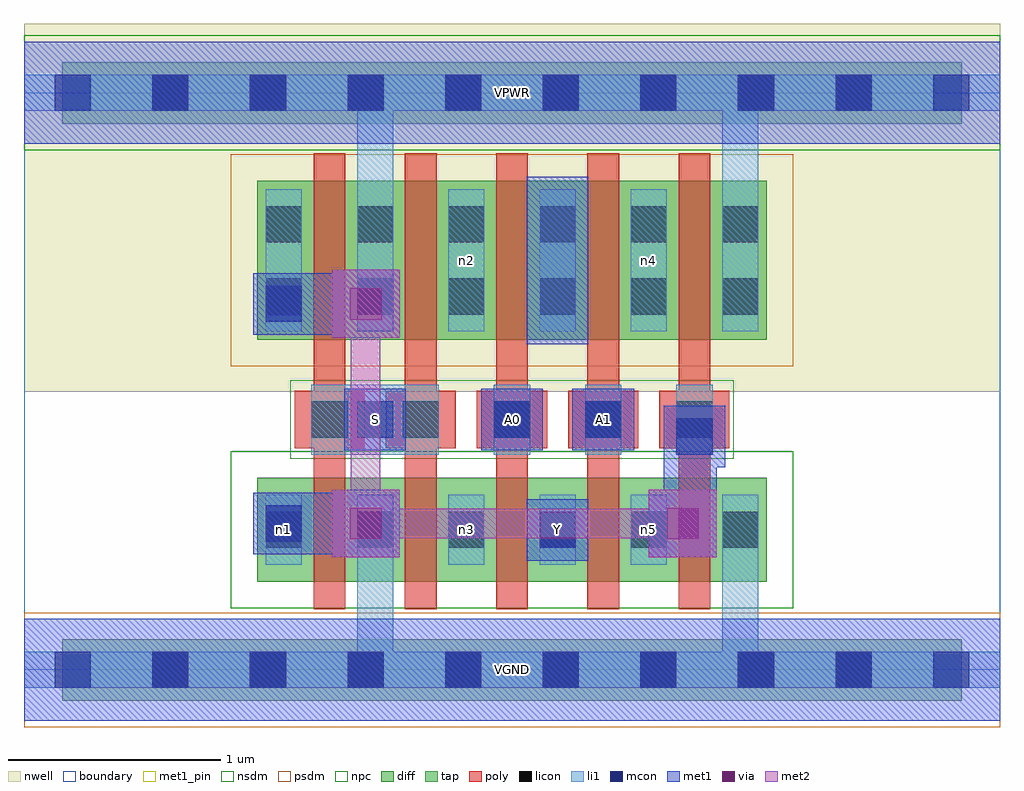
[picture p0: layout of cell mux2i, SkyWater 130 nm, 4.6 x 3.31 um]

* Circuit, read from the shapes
.subckt mux2i A0 A1 S VGND VPWR Y n1 n2 n3 n4 n5
XM1 VGND S n1 VGND sky130_fd_pr__nfet_01v8 w=0.49 l=0.15
XM2 n3 S VGND VGND sky130_fd_pr__nfet_01v8 w=0.49 l=0.15
XM3 Y A0 n3 VGND sky130_fd_pr__nfet_01v8 w=0.49 l=0.15
XM4 n5 A1 Y VGND sky130_fd_pr__nfet_01v8 w=0.49 l=0.15
XM5 VGND n1 n5 VGND sky130_fd_pr__nfet_01v8 w=0.49 l=0.15
XM6 VPWR S n1 VPWR sky130_fd_pr__pfet_01v8 w=0.75 l=0.15
XM7 n2 S VPWR VPWR sky130_fd_pr__pfet_01v8 w=0.75 l=0.15
XM8 n6 A0 n2 VPWR sky130_fd_pr__pfet_01v8 w=0.75 l=0.15
XM9 n4 A1 n6 VPWR sky130_fd_pr__pfet_01v8 w=0.75 l=0.15
XM10 VPWR n1 n4 VPWR sky130_fd_pr__pfet_01v8 w=0.75 l=0.15
.ends

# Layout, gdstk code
import gdstk
lib = gdstk.Library(unit=1e-6, precision=1e-09)
def R(c, l, rs):  # rectangles x0, y0, x1, y1
    for r in rs: c.add(gdstk.rectangle(r[:2], r[2:], *l))
def A(c, l, x, y, w, h, nx, ny, dx, dy):  # array of equal rectangles
    R(c, l, [(x+i*dx, y+j*dy, x+i*dx+w, y+j*dy+h) for i in range(nx) for j in range(ny)])
nwell = (64, 20)
diff = (65, 20)
tap = (65, 44)
poly = (66, 20)
licon = (66, 44)
li1 = (67, 20)
mcon = (67, 44)
met1_pin = (68, 16)
met1 = (68, 20)
via = (68, 44)
met2 = (69, 20)
nsdm = (93, 44)
psdm = (94, 20)
npc = (95, 20)
boundary = (235, 4)

mux2i = lib.new_cell('mux2i')
R(mux2i, nwell, [(0,1.31,4.6,3.045)])
R(mux2i, diff, [(1.1,0.415,3.5,0.905), (1.1,1.555,3.5,2.305)])
R(mux2i, tap, [(0.18,-0.145,4.42,0.145), (0.18,2.575,4.42,2.865)])
A(mux2i, poly, 1.365, 0.285, 0.15, 2.15, 5, 1, 0.43, 0)
A(mux2i, poly, 1.275, 1.045, 0.33, 0.27, 5, 1, 0.43, 0)
A(mux2i, licon, 0.605, -0.085, 0.17, 0.17, 8, 2, 0.46, 2.72)
A(mux2i, licon, 1.14, 0.575, 0.17, 0.17, 6, 2, 0.43, 1.1)
A(mux2i, licon, 1.355, 1.095, 0.17, 0.17, 5, 1, 0.43, 0)
A(mux2i, licon, 1.14, 2.015, 0.17, 0.17, 6, 1, 0.43, 0)
A(mux2i, li1, 1.14, 0.495, 0.17, 0.33, 6, 1, 0.43, 0)
A(mux2i, li1, 2.215, 1.015, 0.17, 0.33, 3, 1, 0.43, 0)
A(mux2i, li1, 1.14, 1.595, 0.17, 0.67, 6, 1, 0.43, 0)
R(mux2i, li1, [(0,-0.085,4.6,0.085), (1.57,-0.085,1.74,0.825), (3.29,-0.085,3.46,0.825), (1.355,1.015,1.955,1.345), (1.57,1.595,1.74,2.805), (3.29,1.595,3.46,2.805), (0,2.635,4.6,2.805)])
A(mux2i, mcon, 0.145, -0.085, 0.17, 0.17, 10, 2, 0.46, 2.72)
R(mux2i, mcon, [(2.43,0.575,2.6,0.745), (1.14,0.605,1.31,0.775), (3.075,1.015,3.245,1.185), (1.57,1.095,1.74,1.265), (2.215,1.095,2.385,1.265), (2.645,1.095,2.815,1.265), (1.14,1.64,1.31,1.81)])
R(mux2i, met1_pin, [(0,-0.24,4.6,0.24), (2.37,0.515,2.66,0.805), (1.51,1.035,1.8,1.325), (2.155,1.035,2.445,1.325), (2.585,1.035,2.875,1.325), (0,2.48,4.6,2.96)])
R(mux2i, met1, [(0,-0.24,4.6,0.24), (2.37,0.515,2.66,0.805), (1.45,0.53,1.77,0.85), (2.945,0.53,3.265,0.85), (1.08,0.545,1.37,0.835), (1.37,0.545,1.45,0.835), (1.155,0.62,1.45,0.76), (1.31,0.62,1.68,0.76), (3.035,0.62,3.175,0.99), (3.015,0.85,3.265,0.955), (3.035,0.85,3.175,1.17), (3.015,0.955,3.305,1.245), (3.035,1.03,3.23,1.17), (1.51,1.035,1.8,1.325), (2.155,1.035,2.445,1.325), (2.585,1.035,2.875,1.325), (2.37,1.535,2.66,2.325), (1.45,1.565,1.77,1.885), (1.08,1.58,1.37,1.87), (1.37,1.58,1.45,1.87), (1.155,1.655,1.45,1.795), (1.31,1.655,1.68,1.795), (0,2.48,4.6,2.96)])
R(mux2i, via, [(1.535,0.615,1.685,0.765), (3.03,0.615,3.18,0.765), (1.535,1.65,1.685,1.8)])
R(mux2i, met2, [(1.45,0.53,1.77,0.85), (2.945,0.53,3.265,0.85), (1.54,0.62,3.175,0.76), (1.54,0.62,1.68,1.795), (1.45,1.565,1.77,1.885)])
R(mux2i, nsdm, [(0.975,0.29,3.625,1.03), (0,2.45,4.6,2.99)])
R(mux2i, psdm, [(0,-0.27,4.6,0.27), (0.975,1.43,3.625,2.43)])
R(mux2i, npc, [(1.255,0.995,3.345,1.365)])
R(mux2i, boundary, [(0,0,4.6,2.72)])
mux2i.add(gdstk.Label('n1', (1.225,0.66), layer=67, texttype=5))
mux2i.add(gdstk.Label('n3', (2.085,0.66), layer=67, texttype=5))
mux2i.add(gdstk.Label('n5', (2.945,0.66), layer=67, texttype=5))
mux2i.add(gdstk.Label('n2', (2.085,1.93), layer=67, texttype=5))
mux2i.add(gdstk.Label('n4', (2.945,1.93), layer=67, texttype=5))
mux2i.add(gdstk.Label('S', (1.655,1.18), layer=68, texttype=5))
mux2i.add(gdstk.Label('A0', (2.3,1.18), layer=68, texttype=5))
mux2i.add(gdstk.Label('A1', (2.73,1.18), layer=68, texttype=5))
mux2i.add(gdstk.Label('Y', (2.515,0.66), layer=68, texttype=5))
mux2i.add(gdstk.Label('VPWR', (2.3,2.72), layer=68, texttype=5))
mux2i.add(gdstk.Label('VGND', (2.3,0), layer=68, texttype=5))
mux2i.add(gdstk.Label('S', (1.655,1.18), layer=68, texttype=16))
mux2i.add(gdstk.Label('A0', (2.3,1.18), layer=68, texttype=16))
mux2i.add(gdstk.Label('A1', (2.73,1.18), layer=68, texttype=16))
mux2i.add(gdstk.Label('Y', (2.515,0.66), layer=68, texttype=16))
mux2i.add(gdstk.Label('VPWR', (2.3,2.72), layer=68, texttype=16))
mux2i.add(gdstk.Label('VGND', (2.3,0), layer=68, texttype=16))

lib.write_gds('mux2i.gds')
